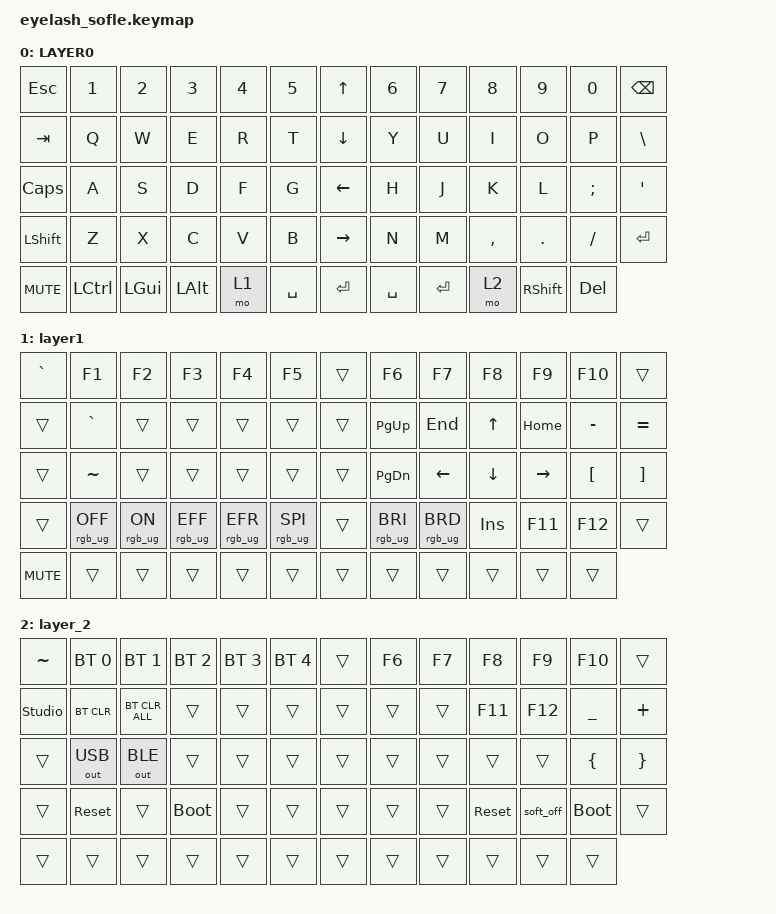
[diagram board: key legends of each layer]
#include <behaviors.dtsi>
#include <dt-bindings/zmk/bt.h>
#include <dt-bindings/zmk/keys.h>
#include <dt-bindings/zmk/outputs.h>
#include <dt-bindings/zmk/rgb.h>


/ {
    keymap {
        compatible = "zmk,keymap";

        layer0 {
            bindings = <
&kp ESC     &kp N1     &kp N2        &kp N3        &kp N4  &kp N5       &kp UP_ARROW     &kp N6     &kp N7     &kp N8     &kp N9           &kp N0      &kp BACKSPACE
&kp TAB     &kp Q      &kp W         &kp E         &kp R   &kp T        &kp DOWN_ARROW   &kp Y      &kp U      &kp I      &kp O            &kp P       &kp BSLH
&kp CAPS    &kp A      &kp S         &kp D         &kp F   &kp G        &kp LEFT_ARROW   &kp H      &kp J      &kp K      &kp L            &kp SEMI    &kp APOS
&kp LSHFT   &kp Z      &kp X         &kp C         &kp V   &kp B        &kp RIGHT_ARROW  &kp N      &kp M      &kp COMMA  &kp DOT          &kp FSLH    &kp ENTER
&kp C_MUTE  &kp LCTRL  &kp LEFT_GUI  &kp LEFT_ALT  &mo 1   &kp SPACE    &kp ENTER        &kp SPACE  &kp ENTER  &mo 2      &kp RIGHT_SHIFT  &kp DELETE
            >;

            display-name = "LAYER0";
        };

        layer_1 {
            bindings = <
&kp GRAVE   &kp F1           &kp F2          &kp F3           &kp F4           &kp F5             &trans           &kp F6           &kp F7           &kp F8      &kp F9     &kp F10           &trans
&trans      &kp GRAVE        &trans          &trans           &trans           &trans             &trans           &kp PG_UP        &kp END          &kp UP      &kp HOME   &kp MINUS         &kp EQUAL
&trans      &kp TILDE        &trans          &trans           &trans           &trans             &trans           &kp PG_DN        &kp LEFT         &kp DOWN    &kp RIGHT  &kp LEFT_BRACKET  &kp RIGHT_BRACKET
&trans      &rgb_ug RGB_OFF  &rgb_ug RGB_ON  &rgb_ug RGB_EFF  &rgb_ug RGB_EFR  &rgb_ug RGB_SPI    &trans           &rgb_ug RGB_BRI  &rgb_ug RGB_BRD  &kp INSERT  &kp F11    &kp F12           &trans
&kp C_MUTE  &trans           &trans          &trans           &trans           &trans             &trans           &trans           &trans           &trans      &trans     &trans
            >;

            display-name = "layer1";
        };

        layer_2 {
            bindings = <
&kp TILDE  &bt BT_SEL 0  &bt BT_SEL 1    &bt BT_SEL 2  &bt BT_SEL 3  &bt BT_SEL 4    &trans           &kp F6  &kp F7  &kp F8      &kp F9     &kp F10      &trans
&studio_unlock      &bt BT_CLR    &bt BT_CLR_ALL  &trans        &trans        &trans          &trans           &trans  &trans  &kp F11     &kp F12    &kp UNDER    &kp PLUS
&trans     &out OUT_USB  &out OUT_BLE    &trans        &trans        &trans          &trans           &trans  &trans  &trans      &trans     &kp LBRC     &kp RBRC
&trans     &sys_reset    &trans          &bootloader   &trans        &trans          &trans           &trans  &trans  &sys_reset  &soft_off  &bootloader  &trans
&trans     &trans        &trans          &trans        &trans        &trans          &trans           &trans  &trans  &trans      &trans     &trans
            >;

        };
    };
};
